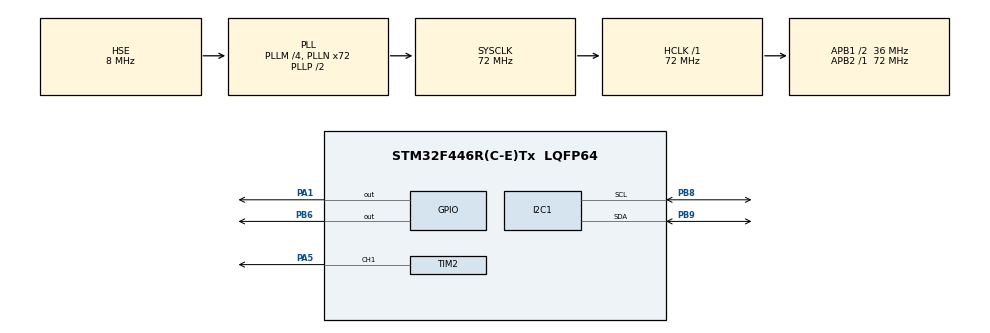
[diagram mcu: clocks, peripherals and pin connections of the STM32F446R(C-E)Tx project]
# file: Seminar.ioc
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Mcu.Family=STM32F4
Mcu.Name=STM32F446R(C-E)Tx
Mcu.Package=LQFP64
NVIC.PriorityGroup=NVIC_PRIORITYGROUP_4
NVIC.TIM6_DAC_IRQn=true\:0\:0\:false\:false\:true\:true\:true\:true
PA1.Signal=GPIO_Output
PA13.Mode=Serial_Wire
PA13.Signal=SYS_JTMS-SWDIO
PA14.Mode=Serial_Wire
PA14.Signal=SYS_JTCK-SWCLK
PA5.Signal=S_TIM2_CH1_ETR
PB6.Signal=GPIO_Output
PB8.Mode=I2C
PB8.Signal=I2C1_SCL
PB9.Mode=I2C
PB9.Signal=I2C1_SDA
PH0-OSC_IN.Mode=HSE-External-Oscillator
PH0-OSC_IN.Signal=RCC_OSC_IN
PH1-OSC_OUT.Mode=HSE-External-Oscillator
PH1-OSC_OUT.Signal=RCC_OSC_OUT
ProjectManager.HeapSize=0x200
ProjectManager.StackSize=0x400
ProjectManager.TargetToolchain=STM32CubeIDE
RCC.AHBFreq_Value=72000000
RCC.APB1CLKDivider=RCC_HCLK_DIV2
RCC.APB1Freq_Value=36000000
RCC.APB1TimFreq_Value=72000000
RCC.APB2Freq_Value=72000000
RCC.APB2TimFreq_Value=72000000
RCC.CortexFreq_Value=72000000
RCC.HCLKFreq_Value=72000000
RCC.HSE_VALUE=8000000
RCC.PLLM=4
RCC.PLLN=72
RCC.PLLSourceVirtual=RCC_PLLSOURCE_HSE
RCC.SYSCLKFreq_VALUE=72000000
RCC.SYSCLKSource=RCC_SYSCLKSOURCE_PLLCLK
RCC.USBFreq_Value=72000000
RCC.VCOOutputFreq_Value=144000000
SH.S_TIM2_CH1_ETR.0=TIM2_CH1,PWM Generation1 CH1
TIM1.Period=49999
TIM1.Prescaler=71
TIM2.Channel-PWM\ Generation1\ CH1=TIM_CHANNEL_1
TIM2.Period=1999
TIM2.Prescaler=71
TIM6.Period=1999
TIM6.Prescaler=719
VP_TIM1_VS_ClockSourceINT.Mode=Internal
VP_TIM2_VS_ClockSourceINT.Mode=Internal
VP_TIM6_VS_ClockSourceINT.Mode=Enable_Timer
board=custom

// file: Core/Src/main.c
/* USER CODE BEGIN Header */
/**
  ******************************************************************************
  * @file           : main.c
  * @brief          : Main program body
  ******************************************************************************
  * @attention
  *
  * Copyright (c) 2024 STMicroelectronics.
  * All rights reserved.
  *
  * This software is licensed under terms that can be found in the LICENSE file
  * in the root directory of this software component.
  * If no LICENSE file comes with this software, it is provided AS-IS.
  *
  ******************************************************************************
  */
/* USER CODE END Header */
#include "main.h"
#include "i2c.h"
#include "tim.h"
#include "gpio.h"

/* USER CODE BEGIN Includes */
#include "stdio.h"
#include "i2c-lcd.h"
/* USER CODE END Includes */

void SystemClock_Config(void);

/* USER CODE BEGIN 0 */
#define DHT11_PORT GPIOB
#define DHT11_PIN GPIO_PIN_6
uint8_t RHI, RHD, TI, TD, SUM;
uint8_t isAlarmActive = 0;
uint32_t pMillis, cMillis;
float Temp = 0;
float RH = 0;
float talarm=24;
float valarm=60;
float fanSpeed = 20.0;

void microDelay (uint16_t delay)
{
	__HAL_TIM_SET_COUNTER(&htim1, 0);
	  while (__HAL_TIM_GET_COUNTER(&htim1) < delay);
}

uint8_t DHT11_Start (void)
{
  uint8_t Response = 0;
  GPIO_InitTypeDef GPIO_InitStructPrivate = {0};

  GPIO_InitStructPrivate.Pin = DHT11_PIN;
  GPIO_InitStructPrivate.Mode = GPIO_MODE_OUTPUT_PP;
  GPIO_InitStructPrivate.Speed = GPIO_SPEED_FREQ_LOW;
  GPIO_InitStructPrivate.Pull = GPIO_NOPULL;

  HAL_GPIO_Init(DHT11_PORT, &GPIO_InitStructPrivate); // postavljanje nožice kao izlaz
  HAL_GPIO_WritePin (DHT11_PORT, DHT11_PIN, 0);   // postavljanje nožice u nisko stanje
  HAL_Delay(18);   // čekati 18ms
  HAL_GPIO_WritePin (DHT11_PORT, DHT11_PIN, 1);   // postavljanje nožice u visoko stanje
  microDelay (30);   // čekati 30us

  GPIO_InitStructPrivate.Mode = GPIO_MODE_INPUT;
  GPIO_InitStructPrivate.Pull = GPIO_PULLUP;

  HAL_GPIO_Init(DHT11_PORT, &GPIO_InitStructPrivate); // postavljanje nožice kao ulaz
  microDelay (40);
  if (!(HAL_GPIO_ReadPin (DHT11_PORT, DHT11_PIN)))
  {
    microDelay (80);
    if ((HAL_GPIO_ReadPin (DHT11_PORT, DHT11_PIN))) Response = 1;
  }
  pMillis = HAL_GetTick();
  cMillis = HAL_GetTick();
  while ((HAL_GPIO_ReadPin (DHT11_PORT, DHT11_PIN)) && pMillis + 2 > cMillis)
  {
    cMillis = HAL_GetTick();
  }
  return Response;
}

uint8_t DHT11_Read (void)
{
  uint8_t a,b;
  for (a=0;a<8;a++)
  {
    pMillis = HAL_GetTick();
    cMillis = HAL_GetTick();
    while (!(HAL_GPIO_ReadPin (DHT11_PORT, DHT11_PIN)) && pMillis + 2 > cMillis)
    {  // čekati dok nožica ne ode u visoko stanje
      cMillis = HAL_GetTick();
    }
    microDelay (40);   // čekati 40 us
    if (!(HAL_GPIO_ReadPin (DHT11_PORT, DHT11_PIN)))   // ako je nožica u niskom stanju
      b&= ~(1<<(7-a));
    else
      b|= (1<<(7-a));
    pMillis = HAL_GetTick();
    cMillis = HAL_GetTick();
    while ((HAL_GPIO_ReadPin (DHT11_PORT, DHT11_PIN)) && pMillis + 2 > cMillis)
    {  // čekati dok nožica ne dođe u visoko stanje
      cMillis = HAL_GetTick();
    }
  }
  return b;
}

/***********************||LCD||**********************************/

void display_Temp (float Temp)
{
	char str[20]={0};
	lcd_put_cur(0,0);

	sprintf (str, "Temp:%.2f", Temp);
	lcd_send_string(str);
	lcd_send_data('C');
}

void display_RH (float RH)
{
	char str[20]={0};
	lcd_put_cur(1,0);

	sprintf (str, "Vlaga:%.2f", RH);
	lcd_send_string(str);
	lcd_send_data('%');
}
/* USER CODE END 0 */

int main(void)
{

  /* MCU Configuration--------------------------------------------------------*/

  /* Reset of all peripherals, Initializes the Flash interface and the Systick. */
  HAL_Init();

  /* Configure the system clock */
  SystemClock_Config();

  /* Initialize all configured peripherals */
  MX_GPIO_Init();
  MX_I2C1_Init();
  MX_TIM1_Init();
  MX_TIM2_Init();
  MX_TIM6_Init();
  /* USER CODE BEGIN 2 */
  HAL_TIM_Base_Start(&htim1);
  HAL_TIM_PWM_Start(&htim2, TIM_CHANNEL_1);

  HAL_TIM_Base_Start_IT(&htim6);

  lcd_init();
  lcd_send_string("pokretanje>>>>");
  HAL_Delay(2000);
  lcd_clear();
  /* USER CODE END 2 */

  /* Infinite loop */
  /* USER CODE BEGIN WHILE */
  while (1)
  {
	  display_Temp(Temp);
	  display_RH(RH);

	  if(DHT11_Start())
	  {
	 	RHI = DHT11_Read(); // integral vlage
	 	RHD = DHT11_Read(); // decimala vlage
	 	TI = DHT11_Read(); // integral temperature
	 	TD = DHT11_Read(); // decimala temperature
	 	SUM = DHT11_Read(); // provjera zbroja
	 	if (RHI + RHD + TI + TD == SUM)
	 	{

	 	  Temp = (float)TI + (float)(TD/10.0);

	 	  RH = (float)RHI + (float)(RHD/10.0);

	 	}

	 	if (Temp > talarm || RH > valarm)
	 	{
	 	   isAlarmActive = 1;
	 	}
	    else
	 	{
	 	   isAlarmActive = 0;
	 	}

	 	if (isAlarmActive)
	    {
	 	fanSpeed = 80.0; 	// postavljanje brzinee ventilatora na 80%
	 	}
	    else
	 	{
	    fanSpeed = 20.0;    // postavljanje brzinee ventilatora na 20%
	 	}
	 	               // Set PWM duty cycle based on fanSpeed
	 	__HAL_TIM_SET_COMPARE(&htim2, TIM_CHANNEL_1, fanSpeed);
	    HAL_Delay(1000);

	  }

    /* USER CODE END WHILE */

  }
}

void SystemClock_Config(void)
{
  RCC_OscInitTypeDef RCC_OscInitStruct = {0};
  RCC_ClkInitTypeDef RCC_ClkInitStruct = {0};

  /** Configure the main internal regulator output voltage
  */
  __HAL_RCC_PWR_CLK_ENABLE();
  __HAL_PWR_VOLTAGESCALING_CONFIG(PWR_REGULATOR_VOLTAGE_SCALE3);

  /** Initializes the RCC Oscillators according to the specified parameters
  * in the RCC_OscInitTypeDef structure.
  */
  RCC_OscInitStruct.OscillatorType = RCC_OSCILLATORTYPE_HSE;
  RCC_OscInitStruct.HSEState = RCC_HSE_ON;
  RCC_OscInitStruct.PLL.PLLState = RCC_PLL_ON;
  RCC_OscInitStruct.PLL.PLLSource = RCC_PLLSOURCE_HSE;
  RCC_OscInitStruct.PLL.PLLM = 4;
  RCC_OscInitStruct.PLL.PLLN = 72;
  RCC_OscInitStruct.PLL.PLLP = RCC_PLLP_DIV2;
  RCC_OscInitStruct.PLL.PLLQ = 2;
  RCC_OscInitStruct.PLL.PLLR = 2;
  if (HAL_RCC_OscConfig(&RCC_OscInitStruct) != HAL_OK)
  {
    Error_Handler();
  }

  /** Initializes the CPU, AHB and APB buses clocks
  */
  RCC_ClkInitStruct.ClockType = RCC_CLOCKTYPE_HCLK|RCC_CLOCKTYPE_SYSCLK
                              |RCC_CLOCKTYPE_PCLK1|RCC_CLOCKTYPE_PCLK2;
  RCC_ClkInitStruct.SYSCLKSource = RCC_SYSCLKSOURCE_PLLCLK;
  RCC_ClkInitStruct.AHBCLKDivider = RCC_SYSCLK_DIV1;
  RCC_ClkInitStruct.APB1CLKDivider = RCC_HCLK_DIV2;
  RCC_ClkInitStruct.APB2CLKDivider = RCC_HCLK_DIV1;

  if (HAL_RCC_ClockConfig(&RCC_ClkInitStruct, FLASH_LATENCY_2) != HAL_OK)
  {
    Error_Handler();
  }
}

/* USER CODE BEGIN 4 */

void HAL_TIM_PeriodElapsedCallback(TIM_HandleTypeDef *htim)
{

    	if(isAlarmActive==0)
    	{
    		HAL_GPIO_TogglePin(GPIOA, GPIO_PIN_1); // promjena stanja LED-ice
    	}

}

/* USER CODE END 4 */

void Error_Handler(void)
{
  __disable_irq();
  while (1)
  {
  }
}
